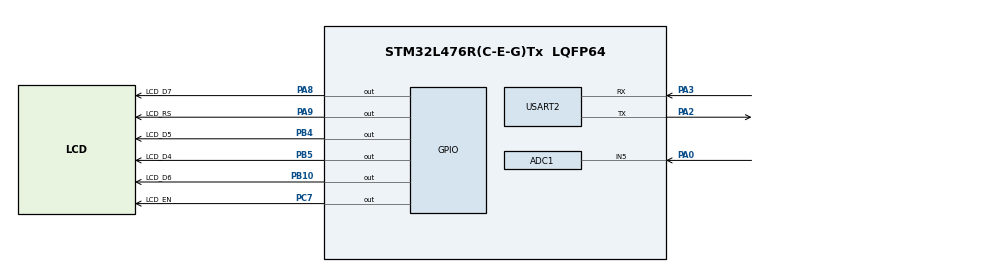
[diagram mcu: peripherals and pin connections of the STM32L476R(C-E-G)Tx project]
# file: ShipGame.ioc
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ADC1.Channel-0\#ChannelRegularConversion=ADC_CHANNEL_5
ADC1.NbrOfConversionFlag=1
ADC1.OffsetNumber-0\#ChannelRegularConversion=ADC_OFFSET_NONE
ADC1.Rank-0\#ChannelRegularConversion=1
ADC1.SamplingTime-0\#ChannelRegularConversion=ADC_SAMPLETIME_2CYCLES_5
ADC1.master=1
Mcu.Family=STM32L4
Mcu.Name=STM32L476R(C-E-G)Tx
Mcu.Package=LQFP64
NVIC.PriorityGroup=NVIC_PRIORITYGROUP_4
PA0.Signal=ADCx_IN5
PA2.Mode=Asynchronous
PA2.Signal=USART2_TX
PA3.Mode=Asynchronous
PA3.Signal=USART2_RX
PA8.GPIO_Label=LCD_D7
PA8.Signal=GPIO_Output
PA9.GPIO_Label=LCD_RS
PA9.Signal=GPIO_Output
PB10.GPIO_Label=LCD_D6
PB10.Signal=GPIO_Output
PB4\ (NJTRST).GPIO_Label=LCD_D5
PB4\ (NJTRST).Signal=GPIO_Output
PB5.GPIO_Label=LCD_D4
PB5.Signal=GPIO_Output
PC7.GPIO_Label=LCD_EN
PC7.Signal=GPIO_Output
ProjectManager.HeapSize=0x200
ProjectManager.StackSize=0x400
ProjectManager.TargetToolchain=STM32CubeIDE
RCC.ADCFreq_Value=32000000
RCC.HSE_VALUE=8000000
RCC.HSI_VALUE=16000000
RCC.LSE_VALUE=32768
RCC.MSI_VALUE=4000000
RCC.PLLSAI1N=16
RCC.USBFreq_Value=32000000
RCC.VCOOutputFreq_Value=32000000
SH.ADCx_IN5.0=ADC1_IN5,IN5-Single-Ended
USART2.VirtualMode-Asynchronous=VM_ASYNC
board=custom

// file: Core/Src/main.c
/* USER CODE BEGIN Header */
/**
  ******************************************************************************
  * @file           : main.c
  * @brief          : Main program body
  ******************************************************************************
  * @attention
  *
  * Copyright (c) 2023 STMicroelectronics.
  * All rights reserved.
  *
  * This software is licensed under terms that can be found in the LICENSE file
  * in the root directory of this software component.
  * If no LICENSE file comes with this software, it is provided AS-IS.
  *
  ******************************************************************************
  */
/* USER CODE END Header */
#include "main.h"

/* USER CODE BEGIN Includes */
#include "lcd.h"
#include "math.h"
#include <string.h>
#include <stdlib.h>
#include <stdio.h>
/* USER CODE END Includes */

ADC_HandleTypeDef hadc1;
UART_HandleTypeDef huart2;
double VSelect = 2.6;
double VLeft = 1.75;
double VDown = 1.1;
double VUp = 0.4;
double VRight = 0;

void SystemClock_Config(void);
static void MX_GPIO_Init(void);
static void MX_ADC1_Init(void);
static void MX_USART2_UART_Init(void);

/* USER CODE BEGIN 0 */

// WYPISYWANIE TEKSTU NA UART
int __io_putchar(int ch)
{
    if (ch == '\n') {
        uint8_t ch2 = '\r';
        HAL_UART_Transmit(&huart2, &ch2, 1, HAL_MAX_DELAY);
    }
    HAL_UART_Transmit(&huart2, (uint8_t*)&ch, 1, HAL_MAX_DELAY);
    return 1;
}

//POBIERANIE TEKSTU Z UART
int __io_getchar(void) {
    uint8_t ch;
        HAL_UART_Receive(&huart2, &ch, 1, HAL_MAX_DELAY);
        if (ch == '\r\n') {
            HAL_UART_Receive(&huart2, &ch, 1, HAL_MAX_DELAY);
        }
        HAL_UART_Transmit(&huart2, &ch, 1, HAL_MAX_DELAY);
        return ch;
}

//POBIERA DANE WYJSCIOWE ORAZ WSTAWIA JE DO BUFFORA
int _read( char *buffor, int buffor_size)
{
    int count = 0;
    char ch;
    while (1)
    {
        ch = __io_getchar();
        if (ch == '\r')
        {
            break;
        }
        buffor[count++] = ch;
    }
    buffor[count] = '\0';
    if(count >= buffor_size){
    	count =0;
    }
    return count; // Zwraca 0 gdy buffor jest przepelniony
}

// WLASNE ZNAKI STATKI I PUDLA
uint8_t customChar[7][8] = {
		{		  0b00000,
				  0b00000,
				  0b00000,
				  0b00000,
				  0b00100,
				  0b00110,
				  0b10101,
				  0b01110}, //STATEK DOL 0X00

		{		  0b00100,
				  0b00110,
				  0b10101,
				  0b01110,
				  0b00000,
				  0b00000,
				  0b00000,
				  0b00000}, //STATEK GORA 0X01

		{		  0b00000,
				  0b00000,
				  0b00000,
				  0b00000,
				  0b00000,
				  0b01110,
				  0b01110,
				  0b00000}, //PUDLO DOL 0X02

		{		  0b00000,
				  0b01110,
				  0b01110,
				  0b00000,
				  0b00000,
				  0b00000,
				  0b00000,
				  0b00000}, //PUDLO GORA 0X03

		{		  0b00000,
				  0b01110,
				  0b01110,
				  0b00000,
				  0b00100,
				  0b00110,
				  0b10101,
				  0b01110}, //PUDLO GORA - STATEK DOL 0X04

		{		  0b00100,
				  0b00110,
				  0b10101,
				  0b01110,
				  0b00000,
				  0b01110,
				  0b01110,
				  0b00000}, //STATEK GORA - PODLO DOL 0X05

		{		  0b00000,
				  0b01110,
				  0b01110,
				  0b00000,
				  0b00000,
				  0b01110,
				  0b01110,
				  0b00000}, //PUDLO GORA - PUDLO DOL 0X06
};

// FUNKCJA TWORZACA WLASNE ZNAKI
void Create_char(uint8_t start_location, uint8_t char_table[][8], uint8_t num_chars)
{
    for (uint8_t j = 0; j < num_chars; j++) {
        uint8_t location = start_location + j;
        lcd_cmd(0x40 | (location << 3));
        for (int i = 0; i < 8; i++)
        {
            lcd_char_cp(char_table[j][i]);
        }
    }
}

//Sprawdza w ktorej linii znajduje sie obiekt, zwraca w ktorej linii
int Check_line(int y)
{
	if(y>=3)
	{
		return 2;
	}
	else
	{
		return 1;
	}
}

int round_zero = 0; //Czy nie jest to zerowa runda
int position_y = 1; // Gdzie znajduje sie statek w poziomie
int position_x = 1; // Gdzie znajduje sie statek w pionie
int miss_in = 0; //Czy przy przemieszczaniu sie na wczesniejszej pozycji bylo pudlo nad statkiem (4) lub pod statkiem (5)

//WYPISUJE STATEK W DANEJ LINII 1/2 ORAZ W KTOREJ POLOWIE LINII GORNEJ/DOLNEJ
void Print_in_lcd()
{
	int line = Check_line(position_y);
	if(!round_zero) // Jezeli nie jest runda zerowa to czysci ekran
	{
		lcd_clear();
	}
	if(position_y%2==0)
	{
	    lcd_char(line,position_x,0x00);
	}
	else
	{
	    lcd_char(line,position_x,0x01);
	}
	HAL_Delay(500);
}

//USTALENIE LINII I CZYSZCZENIE POPRZEDNIEJ POZYCJI STATKU W RUNDZIE NIEZEROWEJ (POMOCNE W FUNKCJI Keyboard())
void Positioning(){
	int line = Check_line(position_y);
	if(miss_in == 4)
	{
		lcd_char(line,position_x,0x03);
	}
	else if(miss_in == 5)
	{
		lcd_char(line,position_x,0x02);
	}
	else
	{
		lcd_print(line,position_x," ");
	}
	miss_in = 0;
}

// TABLICA NA WSZYSTKO CO JEST NA EKRANIE
int tab[4][16];
void Init_tab(){
	for(int i=0 ; i<4 ; i++){
		for(int j=0 ; j<16 ; j++){
				// 0 - NIC
				// 1 - STATEK
				// 2 - PUDLO
				tab[i][j]=0;
			}
	}
}
// WYSPISUJE W UART CALA TAB
void Print_tab()
{
	printf(" ");
	for(int i=0 ; i<16 ; i++)
	{
		printf("%3d", i+1);
	}
	printf("\n");
    for(int i=0 ; i<4 ; i++)
    {
    	printf("%d", i+1);
        for(int j=0 ; j<16 ; j++)
        {
            // JEZELI TAB TO 0 - CZYLI NIC LUB 1 CZYLI STATEK WYPISUJEMY 0
            // JEZELEI TAB TO 2 CZYLI PUDLO TO X
        	if(tab[i][j]==0 || tab[i][j]==1)
            {
                printf("%3c", '-');
            }
            else if(tab[i][j]==2)
            {
                printf("%3c", 'X');
            }
        }
        printf("\n");
    }
}

// SPRAWDZA NAPIECIE Z PRZYCISKOW NA LCD
float Give_voltage()
{
	HAL_ADC_Start(&hadc1);
	HAL_ADC_PollForConversion(&hadc1, HAL_MAX_DELAY);
	HAL_ADC_Stop(&hadc1);
	uint32_t val = HAL_ADC_GetValue(&hadc1);
	float volt = (float)val * 3.3 / (pow(2,12)-1);
	return volt;
}

// SWOBODNE PORUSZANIE SIE STATKIEM W RUNDZIE ZEROWEJ
int Start_game_keyboard()
{
	 float volt = Give_voltage();
	 if(volt > VSelect && volt < 2.9) // SELECT
	 {
	    	return 3;
	 }
	 else if(volt > VLeft && volt < (VSelect - 0.2) && position_x>1 ) // LEFT
	 {
	    --position_x;
	    Print_in_lcd();
	 }
	 else if(volt > VDown && volt < (VLeft - 0.2) && position_y<4) // DOWN
	 {
		 ++position_y;
	     Print_in_lcd();
	 }
	 else if(volt > VUp && volt < (VDown - 0.2) && position_y>1 ) // UP
	 {

	     --position_y;
	     Print_in_lcd();
	 }
	 else if(volt < (VUp - 0.2)  && position_x<16) // RIGHT
	 {
		 ++position_x;
	     Print_in_lcd();
	 }
	 HAL_Delay(100);
	 return 0;
}
// WYBIERA MIEJSCE NA STATEK
int Keyboard()
{
	int line = Check_line(position_y);
    if(tab[position_y][position_x-1] == 2 && position_y%2==1)
    {
    	miss_in = 5;
    }
    else if(tab[position_y-2][position_x-1] == 2 && position_y%2==0)
    {
    	miss_in = 4;
    }

    float volt = Give_voltage();
    if(volt > VSelect && volt < VSelect) // SELECT
    {
    	return 3;
    }
    else if(volt > VLeft && volt < (VSelect - 0.2) && position_x>1 && tab[position_y-1][position_x-2] != 2) // LEFT
    {
    	Positioning();
    	--position_x;
    	if(tab[position_y-2][position_x-1] == 2 && position_y%2==0)
    	{
    		lcd_char(line,position_x,0x04);
    		HAL_Delay(500);
    	}
    	else if(tab[position_y][position_x-1] == 2 && position_y%2==1)
    	{
    		lcd_char(line,position_x,0x05);
    		HAL_Delay(500);
    	}
    	else
    	{
    		Print_in_lcd();
    	}
    }
    else if(volt > VDown && volt < (VLeft - 0.2) && position_y<4 && tab[position_y][position_x-1] != 2) // DOWN
    {
    	Positioning();
        ++position_y;
        if(tab[position_y][position_x-1] == 2 && position_y==3)
        {
        	lcd_char(line+1,position_x,0x05);
        	HAL_Delay(500);
        }
        else
        {
        	Print_in_lcd();
        }
    }
    else if(volt > VUp && volt < (VDown - 0.2)   && position_y>1 && tab[position_y-2][position_x-1] != 2) // UP
    {
    	Positioning();
        --position_y;
        if(tab[position_y-2][position_x-1] == 2 && position_y==2)
        {
        	lcd_char(line-1,position_x,0x04);
        	HAL_Delay(500);
        }
        else
        {
        	Print_in_lcd();
        }
    }
    else if(volt < (VUp - 0.2)   && position_x<16 && tab[position_y-1][position_x] != 2) // RIGHT
    {
    	Positioning();
    	++position_x;
    	if(tab[position_y-2][position_x-1] == 2 && position_y%2==0)
    	{
    		lcd_char(line,position_x,0x04);
    		HAL_Delay(500);
    	}
    	else if(tab[position_y][position_x-1] == 2 && position_y%2==1)
    	{
    		lcd_char(line,position_x,0x05);
    		HAL_Delay(500);
    	}
    	else
    	{
    		Print_in_lcd();
    	}
    }
    else
    {
    	return 0;
    }
	return 1;
}

int game = 1;
// W MENU SPRAWDZAMY CZY WCISNIETO SELECT PRZY STARCIE GRY
int Wait_for_select()
{
	float volt = Give_voltage();
	if(volt > VSelect && volt < 2.9) // SELECT
	{
		if(game==1)
		{
			lcd_clear();
			lcd_print(1, 1, "GAME 1 OF 2");
			lcd_print(2, 1, "P1 LCD - P2 UART");
			printf("GAME 1 OF 2 \nP1 LCD - P2 UART \r\n");
			HAL_Delay(1000);
			return 0;
		}
		else if(game==2)
		{
			lcd_clear();
			lcd_print(1, 1, "GAME 2 OF 2");
			lcd_print(2, 1, "P1 UART - P2 LCD");
			printf("GAME 2 OF 2 \nP1 UART - P2 LCD \r\n");
			HAL_Delay(1000);
			return 0;
		}
	}
	else
	{
		return 1;
	}
}

// ODPOWIADA ZA LICZBE RUCHOW GRACZA NA EKRANIE LCD
void LCD_player_move()
{
	int Selected = Keyboard();
	if(!round_zero)
	{
		lcd_char(1,position_x,0x01);
		while(Selected < 3)
		{
				Selected = Start_game_keyboard();
		}
		round_zero=1;
	}
	else
	{
		while(Selected <3)
		{
			Selected += Keyboard();
		}
	}
}

// WYPISUJE ZNAKI PO STRZALE NA EKRANIE LCD
void Change_lcd(int y, int x)
{

	int line = Check_line(y);
	if(y%2==0)
	{
		if(tab[y-2][x-1] == 2)
		{
			lcd_char(line,x,0x06);
		}
		else if(tab[y-2][x-1] == 1)
		{
			lcd_char(line,x,0x05);
		}
		else
		{
			lcd_char(line,x,0x02);
		}
	}
	else
	{
		if(tab[y][x-1] == 2){
			lcd_char(line,x,0x06);
		}
		else if(tab[y][x-1] == 1){
			lcd_char(line,x,0x04);
		}
		else{
			lcd_char(line,x,0x03);
		}

	}
	tab[y-1][x-1]=2;
}

int win = 0; //CZY TRAFIONO STATEK 0 - NIE 1 - TAK
int shoot_counter = 0; // ZLICZA LICZBE STRZALOW
int result1; // ZAWIERIA LICZBE STRZALOW PLAYERA 1
int result2; // ZAWIERIA LICZBE STRZALOW PLAYERA 2

// INICJALIZIUJE DRUGA GRE NP. CZYSCI ZMIENNE
void Second_game()
{
	lcd_clear();
	lcd_print(1,1,"PRESS SELECT");
	lcd_print(2,1,"TO CONTINUE");
	printf("PRESS SELECT ON LCD TO CONTINUE \n");
	while (Wait_for_select())
	Init_tab();
	lcd_clear();
	printf("Player LCD place starting position of his ship \n");
    lcd_char(1,1,0x01);
	position_x=1;
	position_y=1;
	round_zero=0;
	LCD_player_move();
	tab[position_y-1][position_x-1]=1;
	printf("Ship placed! Now you can use 'shoot y x' to destroy the ship \n\n");
	Print_tab();
    HAL_Delay(500);
    win=0;
}
// DO UART
int System_Interface(const char *command)
{
	if(strstr(command, "shoot") == command)
	{
		uint32_t y, x;
	    if (sscanf(command, "shoot %d %d", &y, &x) == 2) // Sprawdza czy wczytano dwie liczby
	    {
			printf("Fire! on position %d x %d \n", y, x);
			if(y>4 || x>16)
			{
				printf("> Out of the border!!! TRY AGAIN \n");
				return 0;
			}
			else if(tab[y-1][x-1] == 2)
			{
				printf("> You just shooted there !!! TRY AGAIN \n");
				return 0;
			}
    		shoot_counter++;
			if(tab[y-1][x-1] == 1)
			{
				win=1;
				game++;
				int jj=11;
				for(int j = 1; j <= 7 ; j++)
				{
					lcd_clear();
					lcd_print(1,j,"LOSE!");
					lcd_print(2,jj--,"LOSE!");
					printf("Win! \n");
					HAL_Delay(300);
				}
				if (game<3)
				{
					result1 = shoot_counter;
					shoot_counter = 0;
				}
				else
				{
				    char results[16];
				    result2 = shoot_counter;
				    sprintf(results, "P1: %d - P2: %d", result1, result2);
					printf("GAME OVER ! \n");
					printf(results);
					printf("\n");
					lcd_print(1,1,"GAME OVER !");
					lcd_print(2,1,results);
					HAL_Delay(999999999);
				}
			}
			else
			{
				//Informuje osobe strzelajaco gdzie znajduje sie statek
				if(x>position_x)
				{
					printf("\n ----------> Ship is on the left <---------- \n\n");
				}
				else if(x<position_x)
				{
					printf("\n ----------> Ship is on the right <---------- \n\n");
				}
				else
				{
					printf("\n ----------> Ship is on the same column <---------- \n\n");
				}
				Change_lcd(y,x);
				Print_tab();
				return 1;
			}
		}
	    else
	    {
	        printf("> Wrong arguments ! TRY AGAIN \n");
		    return 0;
	    }
	}
	else
	{
		printf("> Wrong command ! TRY AGAIN \n");
	    return 0;
	}
    printf("\n");
    return 0;
}

//MENU DO GRY W USART/LCD
void Menu()
{
	printf("\r\n\r\n");
	printf(" _______  _______  _______  _______  ___   _  ___  \r\n");
	printf("|       ||       ||   _   ||       ||   | | ||   | \r\n");
	printf("|  _____||_     _||  | |  ||_     _||   |_| ||   | \r\n");
	printf("| |_____   |   |  |  |_|  |  |   |  |      _||   | \r\n");
	printf("|_____  |  |   |  |       |  |   |  |     |_ |   | \r\n");
	printf(" _____| |  |   |  |   _   |  |   |  |    _  ||   | \r\n");
	printf("|_______|  |___|  |__| |__|  |___|  |___| |_||___| \r\n\r\n");
	lcd_print(1, 6, "STATKI");
	lcd_char(1,1,0x00);
	lcd_char(1,16,0x00);
	lcd_char(2,4,0x01);
	lcd_char(2,13,0x01);
	lcd_char(2,7,0x00);
	lcd_char(2,10,0x00);
	printf("Press SELECT on LCD to start the game\r\n\r\n");
	while(Wait_for_select());
}
int attempt = 1;
int rounds = 1;
char buffor[32];

// ROZPOCZYNA GRE
void Play_game()
{
	  while(!win)
	  {
		  while(attempt<4)
		  {
			  if(win)
			  {
				  break;
			  }
			  printf("\n -----------> Round - %d <---------- \n\n",rounds);
		  	  printf("Player UART guess where the ship is (3 shots)\n");
		  	  printf("Round %d Attempt %d\n",rounds,attempt);
		  	  printf("> ");
		  	  fflush(stdin);
		  	  fflush(stdout);
		  	  if ( _read(buffor, 32) > 0)
		  	  {
		  		  attempt+=System_Interface(buffor);
		  	  }
		  }
		  if (!win) //
		  {
			  tab[position_y-1][position_x-1]=0;
		  	  printf("Player LCD place new position of his ship \n");
		  	  LCD_player_move();
		  	  tab[position_y-1][position_x-1]=1;
		  	  attempt = 1;
		  	  rounds++;
		  }
	  }
}
/* USER CODE END 0 */

int main(void)
{
  /* USER CODE BEGIN 1 */
  // INICJUJE TABLICE NA CALY EKRAN
  /* USER CODE END 1 */

  /* MCU Configuration--------------------------------------------------------*/

  /* Reset of all peripherals, Initializes the Flash interface and the Systick. */
  HAL_Init();

  /* Configure the system clock */
  SystemClock_Config();

  /* Initialize all configured peripherals */
  MX_GPIO_Init();
  MX_ADC1_Init();
  MX_USART2_UART_Init();
  /* USER CODE BEGIN 2 */
  lcd_init(_LCD_4BIT, _LCD_FONT_5x8, _LCD_2LINE);
  lcd_clear();
  //MENU
  Create_char(0,customChar,7);
  Init_tab();
  Menu();
  lcd_clear();

  //RUNDA 0
  printf("Player LCD place starting position of his ship\r\n");
  Create_char(0,customChar,7);
  LCD_player_move();
  printf("Ship placed! Now you can use 'shoot y x' to destroy the ship\r\n");
  tab[position_y-1][position_x-1]=1;
  Print_tab();
  HAL_Delay(500);

  /* USER CODE END 2 */

  /* Infinite loop */
  /* USER CODE BEGIN WHILE */
  Play_game();
  attempt = 1;
  rounds = 1;
  Second_game();
  Play_game();
  while (1)
  {
    /* USER CODE END WHILE */

  }
}

void SystemClock_Config(void)
{
  RCC_OscInitTypeDef RCC_OscInitStruct = {0};
  RCC_ClkInitTypeDef RCC_ClkInitStruct = {0};

  /** Configure the main internal regulator output voltage
  */
  if (HAL_PWREx_ControlVoltageScaling(PWR_REGULATOR_VOLTAGE_SCALE1) != HAL_OK)
  {
    Error_Handler();
  }

  /** Initializes the RCC Oscillators according to the specified parameters
  * in the RCC_OscInitTypeDef structure.
  */
  RCC_OscInitStruct.OscillatorType = RCC_OSCILLATORTYPE_MSI;
  RCC_OscInitStruct.MSIState = RCC_MSI_ON;
  RCC_OscInitStruct.MSICalibrationValue = 0;
  RCC_OscInitStruct.MSIClockRange = RCC_MSIRANGE_6;
  RCC_OscInitStruct.PLL.PLLState = RCC_PLL_NONE;
  if (HAL_RCC_OscConfig(&RCC_OscInitStruct) != HAL_OK)
  {
    Error_Handler();
  }

  /** Initializes the CPU, AHB and APB buses clocks
  */
  RCC_ClkInitStruct.ClockType = RCC_CLOCKTYPE_HCLK|RCC_CLOCKTYPE_SYSCLK
                              |RCC_CLOCKTYPE_PCLK1|RCC_CLOCKTYPE_PCLK2;
  RCC_ClkInitStruct.SYSCLKSource = RCC_SYSCLKSOURCE_MSI;
  RCC_ClkInitStruct.AHBCLKDivider = RCC_SYSCLK_DIV1;
  RCC_ClkInitStruct.APB1CLKDivider = RCC_HCLK_DIV1;
  RCC_ClkInitStruct.APB2CLKDivider = RCC_HCLK_DIV1;

  if (HAL_RCC_ClockConfig(&RCC_ClkInitStruct, FLASH_LATENCY_0) != HAL_OK)
  {
    Error_Handler();
  }
}

static void MX_ADC1_Init(void)
{

  ADC_MultiModeTypeDef multimode = {0};
  ADC_ChannelConfTypeDef sConfig = {0};

  /** Common config
  */
  hadc1.Instance = ADC1;
  hadc1.Init.ClockPrescaler = ADC_CLOCK_ASYNC_DIV1;
  hadc1.Init.Resolution = ADC_RESOLUTION_12B;
  hadc1.Init.DataAlign = ADC_DATAALIGN_RIGHT;
  hadc1.Init.ScanConvMode = ADC_SCAN_DISABLE;
  hadc1.Init.EOCSelection = ADC_EOC_SINGLE_CONV;
  hadc1.Init.LowPowerAutoWait = DISABLE;
  hadc1.Init.ContinuousConvMode = DISABLE;
  hadc1.Init.NbrOfConversion = 1;
  hadc1.Init.DiscontinuousConvMode = DISABLE;
  hadc1.Init.ExternalTrigConv = ADC_SOFTWARE_START;
  hadc1.Init.ExternalTrigConvEdge = ADC_EXTERNALTRIGCONVEDGE_NONE;
  hadc1.Init.DMAContinuousRequests = DISABLE;
  hadc1.Init.Overrun = ADC_OVR_DATA_PRESERVED;
  hadc1.Init.OversamplingMode = DISABLE;
  if (HAL_ADC_Init(&hadc1) != HAL_OK)
  {
    Error_Handler();
  }

  /** Configure the ADC multi-mode
  */
  multimode.Mode = ADC_MODE_INDEPENDENT;
  if (HAL_ADCEx_MultiModeConfigChannel(&hadc1, &multimode) != HAL_OK)
  {
    Error_Handler();
  }

  /** Configure Regular Channel
  */
  sConfig.Channel = ADC_CHANNEL_5;
  sConfig.Rank = ADC_REGULAR_RANK_1;
  sConfig.SamplingTime = ADC_SAMPLETIME_2CYCLES_5;
  sConfig.SingleDiff = ADC_SINGLE_ENDED;
  sConfig.OffsetNumber = ADC_OFFSET_NONE;
  sConfig.Offset = 0;
  if (HAL_ADC_ConfigChannel(&hadc1, &sConfig) != HAL_OK)
  {
    Error_Handler();
  }

}

static void MX_USART2_UART_Init(void)
{

  huart2.Instance = USART2;
  huart2.Init.BaudRate = 115200;
  huart2.Init.WordLength = UART_WORDLENGTH_8B;
  huart2.Init.StopBits = UART_STOPBITS_1;
  huart2.Init.Parity = UART_PARITY_NONE;
  huart2.Init.Mode = UART_MODE_TX_RX;
  huart2.Init.HwFlowCtl = UART_HWCONTROL_NONE;
  huart2.Init.OverSampling = UART_OVERSAMPLING_16;
  huart2.Init.OneBitSampling = UART_ONE_BIT_SAMPLE_DISABLE;
  huart2.AdvancedInit.AdvFeatureInit = UART_ADVFEATURE_NO_INIT;
  if (HAL_UART_Init(&huart2) != HAL_OK)
  {
    Error_Handler();
  }

}

static void MX_GPIO_Init(void)
{
  GPIO_InitTypeDef GPIO_InitStruct = {0};

  /* GPIO Ports Clock Enable */
  __HAL_RCC_GPIOA_CLK_ENABLE();
  __HAL_RCC_GPIOB_CLK_ENABLE();
  __HAL_RCC_GPIOC_CLK_ENABLE();

  /*Configure GPIO pin Output Level */
  HAL_GPIO_WritePin(GPIOB, LCD_D6_Pin|LCD_D5_Pin|LCD_D4_Pin, GPIO_PIN_RESET);

  /*Configure GPIO pin Output Level */
  HAL_GPIO_WritePin(LCD_EN_GPIO_Port, LCD_EN_Pin, GPIO_PIN_RESET);

  /*Configure GPIO pin Output Level */
  HAL_GPIO_WritePin(GPIOA, LCD_D7_Pin|LCD_RS_Pin, GPIO_PIN_RESET);

  /*Configure GPIO pins : LCD_D6_Pin LCD_D5_Pin LCD_D4_Pin */
  GPIO_InitStruct.Pin = LCD_D6_Pin|LCD_D5_Pin|LCD_D4_Pin;
  GPIO_InitStruct.Mode = GPIO_MODE_OUTPUT_PP;
  GPIO_InitStruct.Pull = GPIO_NOPULL;
  GPIO_InitStruct.Speed = GPIO_SPEED_FREQ_LOW;
  HAL_GPIO_Init(GPIOB, &GPIO_InitStruct);

  /*Configure GPIO pin : LCD_EN_Pin */
  GPIO_InitStruct.Pin = LCD_EN_Pin;
  GPIO_InitStruct.Mode = GPIO_MODE_OUTPUT_PP;
  GPIO_InitStruct.Pull = GPIO_NOPULL;
  GPIO_InitStruct.Speed = GPIO_SPEED_FREQ_LOW;
  HAL_GPIO_Init(LCD_EN_GPIO_Port, &GPIO_InitStruct);

  /*Configure GPIO pins : LCD_D7_Pin LCD_RS_Pin */
  GPIO_InitStruct.Pin = LCD_D7_Pin|LCD_RS_Pin;
  GPIO_InitStruct.Mode = GPIO_MODE_OUTPUT_PP;
  GPIO_InitStruct.Pull = GPIO_NOPULL;
  GPIO_InitStruct.Speed = GPIO_SPEED_FREQ_LOW;
  HAL_GPIO_Init(GPIOA, &GPIO_InitStruct);

}

void Error_Handler(void)
{
  __disable_irq();
  while (1)
  {
  }
}
